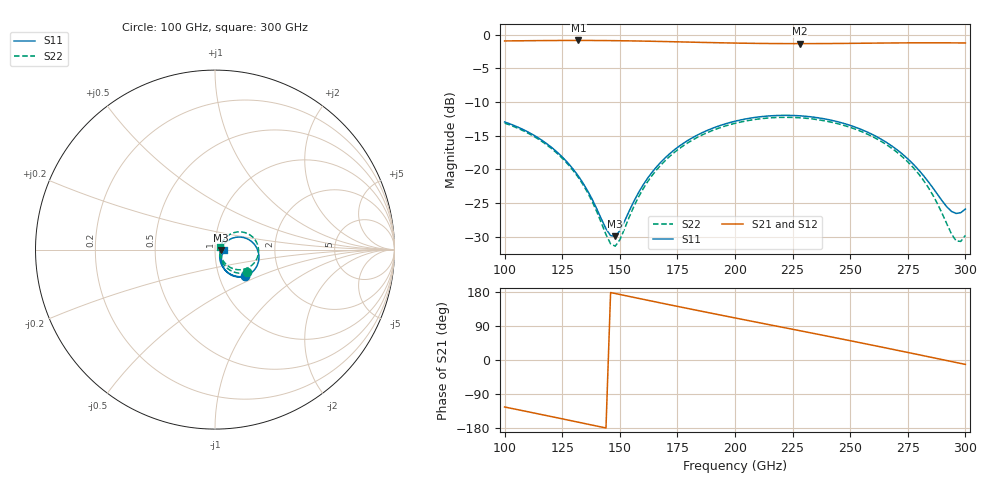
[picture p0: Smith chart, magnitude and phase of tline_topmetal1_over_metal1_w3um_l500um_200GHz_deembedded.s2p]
! Created with skrf 2.0.1 (http://scikit-rf.org).
# GHz S DB R 50.0
!freq dBS11 angS11 dBS21 angS21 dBS12 angS12 dBS22 angS22
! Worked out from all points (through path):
!   101 points, 100 GHz to 300 GHz, reference 50 ohm
!   highest |S21| = -0.88 dB at 132 GHz (marker M1); lowest = -1.4 dB at 228 GHz (marker M2)
!   group delay of S21, straight-line fit = 3.42 ps
!   lowest |S11| = -30.0 dB at 148 GHz (marker M3), VSWR 1.07, Z = 53.2 - j0.528 ohm
!   |S11| at or under -10 dB: start of sweep to end of sweep
!   |S22| runs from -31.4 to -12.3 dB; largest |S21 - S12| = 1.5e-14
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100  -12.98 -41.5  -0.95 -124.0  -0.95 -124.0  -13.15 -35.2
118  -16.13 -59.0  -0.90 -146.4  -0.90 -146.4  -16.31 -52.0
132  -21.01 -66.7  -0.88 -164.1  -0.88 -164.1  -21.22 -59.9
134  -22.03 -66.3  -0.88 -166.7  -0.88 -166.7  -22.27 -59.8
144  -28.83 -41.5  -0.90 -179.4  -0.90 -179.4  -29.70 -36.8
146  -29.85 -26.5  -0.91 178.0  -0.91 178.0  -31.08 -20.7
148  -29.97 -9.0  -0.91 175.5  -0.91 175.5  -31.42 -0.4
150  -29.13 6.8  -0.92 173.0  -0.92 173.0  -30.49 18.2
160  -22.40 34.5  -0.98 160.3  -0.98 160.3  -22.97 48.1
168  -18.88 33.4  -1.03 150.3  -1.03 150.3  -19.31 46.9
182  -15.23 22.7  -1.14 132.9  -1.14 132.9  -15.58 36.4
200  -12.87 5.0  -1.27 111.0  -1.27 111.0  -13.18 19.3
214  -12.11 -9.5  -1.33 94.2  -1.33 94.2  -12.41 5.3
228  -12.07 -24.0  -1.35 77.5  -1.35 77.5  -12.36 -8.8
234  -12.26 -30.1  -1.35 70.3  -1.35 70.3  -12.55 -14.9
250  -13.49 -46.0  -1.31 50.9  -1.31 50.9  -13.78 -30.9
268  -16.53 -60.9  -1.25 28.7  -1.25 28.7  -16.88 -47.2
282  -21.02 -63.7  -1.23 11.1  -1.23 11.1  -21.74 -54.1
292  -25.60 -43.9  -1.24 -1.5  -1.24 -1.5  -28.16 -38.7
296  -26.57 -24.7  -1.24 -6.6  -1.24 -6.6  -30.64 -12.3
298  -26.44 -14.2  -1.25 -9.1  -1.25 -9.1  -30.71 5.7
300  -25.92 -4.6  -1.26 -11.6  -1.26 -11.6  -29.81 21.7
